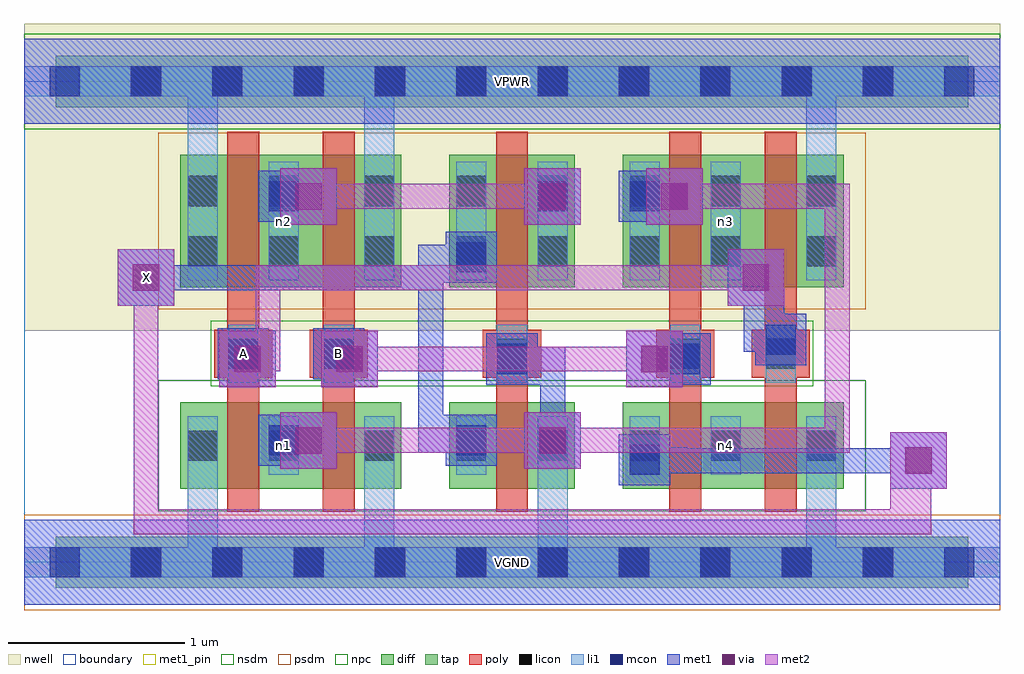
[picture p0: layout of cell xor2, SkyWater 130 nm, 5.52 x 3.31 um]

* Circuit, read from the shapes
.subckt xor2 A B VGND VPWR X n1 n2 n3 n4
XM1 n1 A VGND VGND sky130_fd_pr__nfet_01v8 w=0.49 l=0.18
XM2 VGND B n1 VGND sky130_fd_pr__nfet_01v8 w=0.49 l=0.18
XM3 VGND n1 X VGND sky130_fd_pr__nfet_01v8 w=0.49 l=0.18
XM4 n4 B X VGND sky130_fd_pr__nfet_01v8 w=0.49 l=0.18
XM5 VGND A n4 VGND sky130_fd_pr__nfet_01v8 w=0.49 l=0.18
XM6 n2 A VPWR VPWR sky130_fd_pr__pfet_01v8 w=0.75 l=0.18
XM7 VPWR B n2 VPWR sky130_fd_pr__pfet_01v8 w=0.75 l=0.18
XM8 n2 n1 X VPWR sky130_fd_pr__pfet_01v8 w=0.75 l=0.18
XM9 n3 B n1 VPWR sky130_fd_pr__pfet_01v8 w=0.75 l=0.18
XM10 VPWR A n3 VPWR sky130_fd_pr__pfet_01v8 w=0.75 l=0.18
.ends

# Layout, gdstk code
import gdstk
lib = gdstk.Library(unit=1e-6, precision=1e-09)
def R(c, l, rs):  # rectangles x0, y0, x1, y1
    for r in rs: c.add(gdstk.rectangle(r[:2], r[2:], *l))
def A(c, l, x, y, w, h, nx, ny, dx, dy):  # array of equal rectangles
    R(c, l, [(x+i*dx, y+j*dy, x+i*dx+w, y+j*dy+h) for i in range(nx) for j in range(ny)])
nwell = (64, 20)
diff = (65, 20)
tap = (65, 44)
poly = (66, 20)
licon = (66, 44)
li1 = (67, 20)
mcon = (67, 44)
met1_pin = (68, 16)
met1 = (68, 20)
via = (68, 44)
met2 = (69, 20)
nsdm = (93, 44)
psdm = (94, 20)
npc = (95, 20)
boundary = (235, 4)

xor2 = lib.new_cell('xor2')
R(xor2, nwell, [(0,1.31,5.52,3.045)])
R(xor2, diff, [(0.885,0.415,2.135,0.905), (2.405,0.415,3.115,0.905), (3.385,0.415,4.635,0.905), (0.885,1.555,2.135,2.305), (2.405,1.555,3.115,2.305), (3.385,1.555,4.635,2.305)])
R(xor2, tap, [(0.18,-0.145,5.34,0.145), (0.18,2.575,5.34,2.865)])
A(xor2, poly, 1.69, 0.285, 0.18, 2.15, 3, 1, 0.98, 0)
A(xor2, poly, 1.615, 1.045, 0.33, 0.27, 3, 1, 0.98, 0)
R(xor2, poly, [(1.15,0.285,1.33,2.435), (4.19,0.285,4.37,2.435), (1.075,1.045,1.405,1.315), (4.115,1.045,4.445,1.315)])
A(xor2, licon, 0.605, -0.085, 0.17, 0.17, 10, 2, 0.46, 2.72)
A(xor2, licon, 1.695, 1.095, 0.17, 0.17, 3, 1, 0.98, 0)
R(xor2, licon, [(0.925,0.575,1.095,0.745), (1.385,0.575,1.555,0.745), (1.925,0.575,2.095,0.745), (2.445,0.575,2.615,0.745), (2.905,0.575,3.075,0.745), (3.425,0.575,3.595,0.745), (3.885,0.575,4.055,0.745), (4.425,0.575,4.595,0.745), (1.155,1.095,1.325,1.265), (4.195,1.095,4.365,1.265), (0.925,1.675,1.095,1.845), (1.385,1.675,1.555,1.845), (1.925,1.675,2.095,1.845), (2.445,1.675,2.615,1.845), (2.905,1.675,3.075,1.845), (3.425,1.675,3.595,1.845), (3.885,1.675,4.055,1.845), (4.425,1.675,4.595,1.845), (0.925,2.015,1.095,2.185), (1.385,2.015,1.555,2.185), (1.925,2.015,2.095,2.185), (2.445,2.015,2.615,2.185), (2.905,2.015,3.075,2.185), (3.425,2.015,3.595,2.185), (3.885,2.015,4.055,2.185), (4.425,2.015,4.595,2.185)])
A(xor2, li1, 1.695, 1.015, 0.17, 0.33, 3, 1, 0.98, 0)
R(xor2, li1, [(0,-0.085,5.52,0.085), (0.925,-0.085,1.095,0.825), (1.925,-0.085,2.095,0.825), (2.905,-0.085,3.075,0.825), (4.425,-0.085,4.595,0.825), (0.925,0.495,1.095,0.825), (1.385,0.495,1.555,0.825), (1.925,0.495,2.095,0.825), (2.445,0.495,2.615,0.825), (2.905,0.495,3.075,0.825), (3.425,0.495,3.595,0.825), (3.885,0.495,4.055,0.825), (4.425,0.495,4.595,0.825), (1.155,1.015,1.325,1.345), (4.195,1.015,4.365,1.345), (0.925,1.595,1.095,2.265), (0.925,1.595,1.095,2.805), (1.385,1.595,1.555,2.265), (1.925,1.595,2.095,2.265), (1.925,1.595,2.095,2.805), (2.445,1.595,2.615,2.265), (2.905,1.595,3.075,2.265), (3.425,1.595,3.595,2.265), (3.885,1.595,4.055,2.265), (4.425,1.595,4.595,2.265), (4.425,1.595,4.595,2.805), (0,2.635,5.52,2.805)])
A(xor2, mcon, 0.145, -0.085, 0.17, 0.17, 12, 2, 0.46, 2.72)
R(xor2, mcon, [(3.425,0.495,3.595,0.665), (1.385,0.605,1.555,0.775), (2.445,0.605,2.615,0.775), (2.675,1.065,2.845,1.235), (3.655,1.065,3.825,1.235), (1.155,1.095,1.325,1.265), (1.695,1.095,1.865,1.265), (4.195,1.175,4.365,1.345), (2.445,1.64,2.615,1.81), (1.385,1.985,1.555,2.155), (2.905,1.985,3.075,2.155), (3.425,1.985,3.595,2.155)])
R(xor2, met1_pin, [(0,-0.24,5.52,0.24), (1.095,1.035,1.385,1.325), (1.635,1.035,1.925,1.325), (0.53,1.45,0.85,1.77), (0,2.48,5.52,2.96)])
R(xor2, met1, [(0,-0.24,5.52,0.24), (4.9,0.415,5.22,0.735), (3.365,0.435,3.655,0.725), (3.61,0.505,3.75,0.65), (3.61,0.505,5.13,0.645), (3.44,0.51,3.75,0.65), (1.45,0.53,1.77,0.85), (2.83,0.53,3.15,0.85), (1.325,0.545,1.615,0.835), (2.385,0.545,2.675,0.835), (1.4,0.62,1.68,0.76), (2.23,0.62,2.6,0.76), (2.23,0.62,2.37,1.795), (2.37,0.62,2.385,0.835), (2.92,0.62,3.06,1.22), (1.105,0.99,1.425,1.31), (1.68,0.99,2,1.31), (3.405,0.99,3.725,1.31), (2.615,1.005,2.905,1.295), (2.905,1.005,2.92,1.22), (3.595,1.005,3.885,1.295), (1.095,1.035,1.385,1.325), (1.635,1.035,1.925,1.325), (1.195,1.08,1.335,1.22), (1.77,1.08,1.91,1.22), (2.69,1.08,3.06,1.22), (3.495,1.08,3.81,1.22), (4.135,1.115,4.425,1.405), (4.07,1.19,4.35,1.33), (4.07,1.19,4.21,1.45), (4.07,1.31,4.21,1.68), (4.07,1.33,4.3,1.45), (4.135,1.405,4.3,1.45), (0.53,1.45,0.85,1.77), (3.98,1.45,4.3,1.77), (0.62,1.54,2.37,1.68), (2.37,1.58,2.385,1.795), (2.385,1.58,2.675,1.87), (2.23,1.655,2.6,1.795), (1.45,1.91,1.77,2.23), (2.83,1.91,3.15,2.23), (3.52,1.91,3.84,2.23), (1.325,1.925,1.615,2.215), (2.845,1.925,3.135,2.215), (3.365,1.925,3.655,2.215), (1.4,2,1.68,2.14), (3.44,2,3.75,2.14), (0,2.48,5.52,2.96)])
R(xor2, via, [(4.985,0.5,5.135,0.65), (1.535,0.615,1.685,0.765), (2.915,0.615,3.065,0.765), (1.19,1.075,1.34,1.225), (1.765,1.075,1.915,1.225), (3.49,1.075,3.64,1.225), (0.615,1.535,0.765,1.685), (4.065,1.535,4.215,1.685), (1.535,1.995,1.685,2.145), (2.915,1.995,3.065,2.145), (3.605,1.995,3.755,2.145)])
R(xor2, met2, [(0.62,0.16,0.76,1.68), (0.62,0.16,5.13,0.3), (4.99,0.16,5.13,0.645), (4.9,0.3,5.13,0.415), (4.9,0.415,5.22,0.735), (1.45,0.53,1.77,0.85), (2.83,0.53,3.15,0.85), (1.54,0.62,3.06,0.76), (2.92,0.62,4.67,0.76), (4.53,0.62,4.67,2.14), (1.105,0.99,1.425,1.31), (1.68,0.99,2,1.31), (3.405,0.99,3.725,1.31), (1.195,1.08,1.45,1.22), (1.31,1.08,1.45,1.68), (1.77,1.08,3.635,1.22), (0.53,1.45,0.85,1.77), (3.98,1.45,4.3,1.77), (1.31,1.54,4.21,1.68), (1.45,1.91,1.77,2.23), (2.83,1.91,3.15,2.23), (3.52,1.91,3.84,2.23), (1.54,2,3.06,2.14), (3.61,2,4.67,2.14)])
R(xor2, nsdm, [(0.76,0.29,4.76,1.03), (0,2.45,5.52,2.99)])
R(xor2, psdm, [(0,-0.27,5.52,0.27), (0.76,1.43,4.76,2.43)])
R(xor2, npc, [(1.055,0.995,4.465,1.365)])
R(xor2, boundary, [(0,0,5.52,2.72)])
xor2.add(gdstk.Label('n1', (1.47,0.66), layer=67, texttype=5))
xor2.add(gdstk.Label('n4', (3.97,0.66), layer=67, texttype=5))
xor2.add(gdstk.Label('n2', (1.47,1.93), layer=67, texttype=5))
xor2.add(gdstk.Label('n3', (3.97,1.93), layer=67, texttype=5))
xor2.add(gdstk.Label('A', (1.24,1.18), layer=68, texttype=5))
xor2.add(gdstk.Label('B', (1.78,1.18), layer=68, texttype=5))
xor2.add(gdstk.Label('X', (0.69,1.61), layer=68, texttype=5))
xor2.add(gdstk.Label('VPWR', (2.76,2.72), layer=68, texttype=5))
xor2.add(gdstk.Label('VGND', (2.76,0), layer=68, texttype=5))
xor2.add(gdstk.Label('A', (1.24,1.18), layer=68, texttype=16))
xor2.add(gdstk.Label('B', (1.78,1.18), layer=68, texttype=16))
xor2.add(gdstk.Label('X', (0.69,1.61), layer=68, texttype=16))
xor2.add(gdstk.Label('VPWR', (2.76,2.72), layer=68, texttype=16))
xor2.add(gdstk.Label('VGND', (2.76,0), layer=68, texttype=16))

lib.write_gds('xor2.gds')
